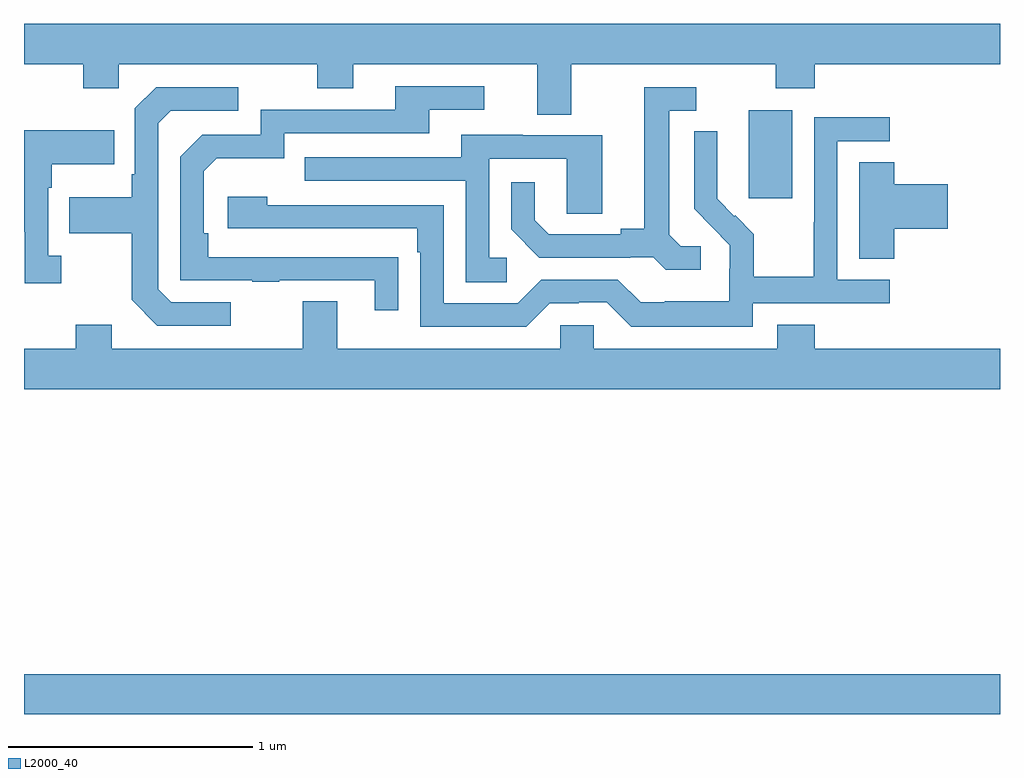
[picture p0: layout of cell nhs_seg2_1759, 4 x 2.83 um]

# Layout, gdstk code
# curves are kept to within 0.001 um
import gdstk
lib = gdstk.Library(unit=1e-6, precision=1e-09)
def R(c, l, rs):  # rectangles x0, y0, x1, y1
    for r in rs: c.add(gdstk.rectangle(r[:2], r[2:], *l))
def P(c, l, *ps):  # polygons
    for p in ps: c.add(gdstk.Polygon(p, *l))
L2000_40 = (2000, 40)

nhs_seg2_1759 = lib.new_cell('nhs_seg2_1759')
R(nhs_seg2_1759, L2000_40, [(203,622.328,207,622.492), (205.97,624.441,206.149,624.802)])
P(nhs_seg2_1759, L2000_40, [(205.243,624.992),(206.08,624.992),(206.08,624.893),(206.24,624.893),(206.24,624.992),(207,624.992),(207,625.156),(203,625.156),(203,624.992),(203.242,624.992),(203.242,624.893),(203.388,624.893),(203.388,624.992),(204.202,624.992),(204.202,624.893),(204.349,624.893),(204.349,624.992),(205.103,624.992),(205.103,624.784),(205.243,624.784)],
  [(204.533,624.2),(203.756,624.201),(203.756,624.298),(203.736,624.298),(203.736,624.552),(203.789,624.605),(204.066,624.605),(204.066,624.708),(204.661,624.708),(204.661,624.804),(204.886,624.804),(204.886,624.9),(204.521,624.9),(204.521,624.804),(203.97,624.804),(203.97,624.702),(203.73,624.702),(203.64,624.612),(203.64,624.105),(203.935,624.105),(203.935,624.1),(204.047,624.1),(204.047,624.105),(204.437,624.105),(204.437,623.982),(204.533,623.982)],
  [(205.774,624.246),(205.692,624.246),(205.645,624.293),(205.645,624.801),(205.756,624.801),(205.756,624.897),(205.541,624.897),(205.541,624.317),(205.445,624.317),(205.445,624.294),(205.15,624.294),(205.093,624.351),(205.093,624.508),(204.996,624.508),(204.996,624.314),(205.112,624.198),(205.484,624.198),(205.484,624.201),(205.578,624.201),(205.63,624.149),(205.774,624.149)],
  [(203.848,624.015),(203.604,624.015),(203.55,624.069),(203.55,624.75),(203.601,624.801),(203.878,624.801),(203.878,624.897),(203.541,624.897),(203.454,624.81),(203.454,624.541),(203.442,624.541),(203.442,624.445),(203.185,624.445),(203.185,624.298),(203.442,624.298),(203.442,624.025),(203.547,623.919),(203.848,623.919)],
  [(205.986,624.012),(206.548,624.012),(206.548,624.108),(206.334,624.108),(206.334,624.675),(206.548,624.675),(206.548,624.774),(206.238,624.774),(206.238,624.344),(206.236,624.344),(206.236,624.121),(205.991,624.121),(205.991,624.295),(205.914,624.372),(205.911,624.369),(205.841,624.44),(205.842,624.716),(205.746,624.716),(205.746,624.398),(205.892,624.25),(205.892,624.153),(205.89,624.153),(205.89,624.019),(205.627,624.019),(205.627,624.015),(205.527,624.015),(205.434,624.108),(205.119,624.108),(205.023,624.012),(204.72,624.012),(204.72,624.414),(203.996,624.414),(203.996,624.448),(203.835,624.448),(203.835,624.318),(204.611,624.318),(204.611,624.221),(204.624,624.221),(204.624,623.916),(205.059,623.916),(205.155,624.012),(205.274,624.012),(205.274,624.015),(205.389,624.015),(205.489,623.915),(205.986,623.915)],
  [(203.152,624.206),(203.1,624.206),(203.1,624.485),(203.113,624.485),(203.113,624.581),(203.369,624.581),(203.369,624.721),(203,624.721),(203,624.305),(203.003,624.305),(203.003,624.093),(203.152,624.093)],
  [(204.979,624.198),(204.906,624.198),(204.906,624.603),(205.224,624.603),(205.224,624.379),(205.369,624.379),(205.369,624.699),(205.045,624.699),(205.045,624.703),(204.791,624.703),(204.791,624.609),(204.151,624.609),(204.151,624.513),(204.81,624.513),(204.81,624.097),(204.979,624.097)],
  [(206.567,624.317),(206.785,624.317),(206.785,624.5),(206.567,624.5),(206.567,624.59),(206.423,624.59),(206.423,624.193),(206.567,624.193)],
  [(207,623.824),(206.24,623.824),(206.24,623.923),(206.087,623.923),(206.087,623.824),(205.335,623.824),(205.335,623.922),(205.197,623.922),(205.197,623.824),(204.283,623.824),(204.283,624.019),(204.143,624.019),(204.143,623.824),(203.359,623.824),(203.359,623.923),(203.212,623.923),(203.212,623.824),(203,623.824),(203,623.66),(207,623.66)])

lib.write_gds('nhs_seg2_1759.gds')
